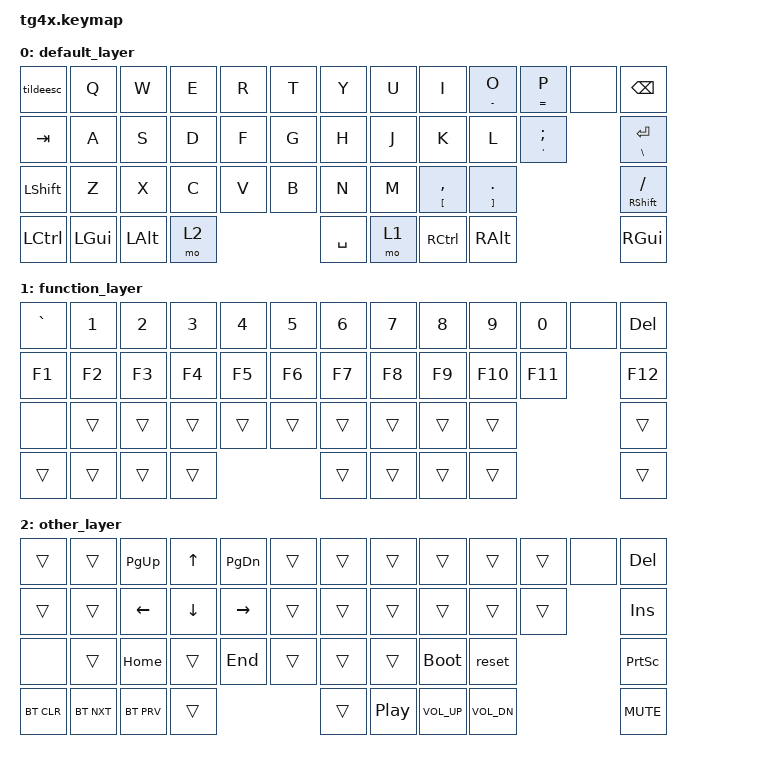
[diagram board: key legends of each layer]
/*
 * Copyright (c) 2020 The ZMK Contributors
 *
 * SPDX-License-Identifier: MIT
 */

#include <behaviors.dtsi>
#include <dt-bindings/zmk/keys.h>
#include <dt-bindings/zmk/bt.h>

&led_strip {
    chain-length = <1>;
};

/ {
	behaviors {
		tildeesc: tilde_escape {
			compatible = "zmk,behavior-mod-morph";
			label = "TILDE_ESCAPE";
			#binding-cells = <0>;
			bindings = <&kp ESC>, <&kp TILDE>;
            mods = <(MOD_LSFT)>;
		};

		ht: hold_tap {
            compatible = "zmk,behavior-hold-tap";
            label = "HOLD_TAP";
            #binding-cells = <2>;
            tapping_term_ms = <150>;
            flavor = "tap-preferred";
            bindings = <&kp>, <&kp>;
        };
	};

	keymap {
		compatible = "zmk,keymap";

		default_layer {
			bindings = <
&tildeesc    &kp Q    &kp W    &kp E &kp R &kp T &kp Y     &kp U &kp I          &ht MINUS O  &ht EQUAL P   &none &kp BSPC
&kp TAB      &kp A    &kp S    &kp D &kp F &kp G &kp H     &kp J &kp K          &kp L        &ht APOS SEMI       &ht BSLH RET
&kp LSHFT    &kp Z    &kp X    &kp C &kp V &kp B &kp N     &kp M &ht LBKT COMMA &ht RBKT DOT                     &mt RSHFT FSLH
&kp LCTRL    &kp LGUI &kp LALT &mo 2             &kp SPACE &mo 1 &kp RCTL       &kp RALT                         &kp RGUI
			>;
		};

		function_layer {
			bindings = <
&kp GRAVE &kp N1 &kp N2 &kp N3 &kp N4 &kp N5 &kp N6    &kp N7    &kp N8   &kp N9   &kp N0  &none &kp DEL
&kp F1    &kp F2 &kp F3 &kp F4 &kp F5 &kp F6 &kp F7    &kp F8    &kp F9   &kp F10  &kp F11       &kp F12
&none     &trans &trans &trans &trans &trans &trans    &trans    &trans   &trans                 &trans
&trans    &trans &trans &trans                         &trans    &trans   &trans   &trans        &trans
			>;
		};

		other_layer {
			bindings = <
&trans     &trans     &kp PG_UP  &kp UP    &kp PG_DN &trans    &trans &trans           &trans       &trans &trans &none &kp DEL
&trans     &trans     &kp LEFT   &kp DOWN  &kp RIGHT &trans    &trans &trans           &trans       &trans &trans       &kp INSERT
&none      &trans     &kp HOME   &trans    &kp END   &trans    &trans &trans           &bootloader  &reset              &kp PSCRN
&bt BT_CLR &bt BT_NXT &bt BT_PRV &trans                        &trans &kp C_PLAY_PAUSE &kp C_VOL_UP &kp C_VOL_DN        &kp C_MUTE
			>;
		};

	};
};
